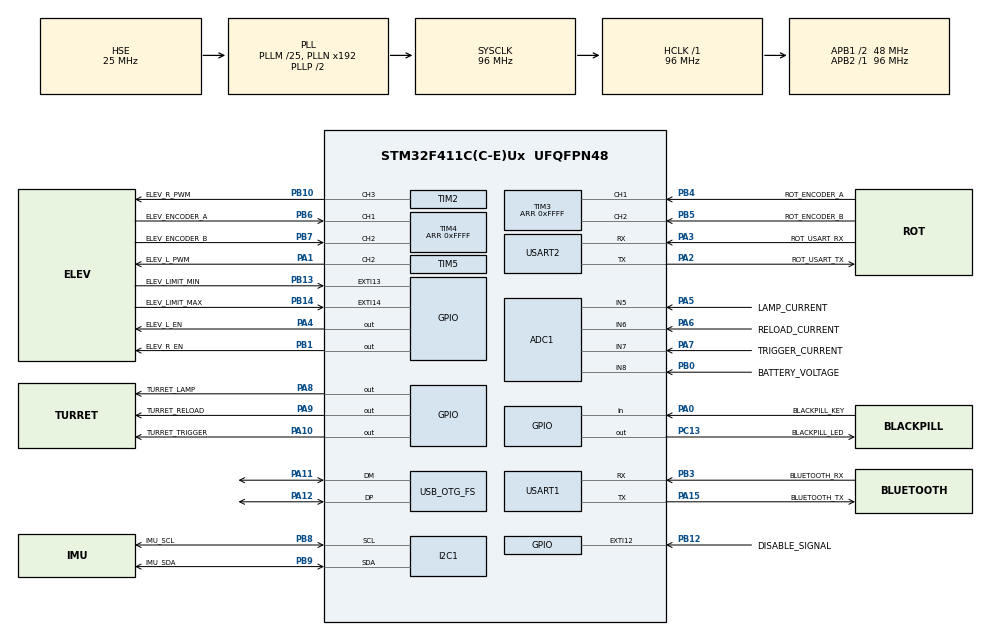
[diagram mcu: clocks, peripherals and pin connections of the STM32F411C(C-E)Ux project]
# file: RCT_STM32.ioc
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ADC1.Channel-0\#ChannelRegularConversion=ADC_CHANNEL_5
ADC1.Channel-1\#ChannelRegularConversion=ADC_CHANNEL_6
ADC1.Channel-2\#ChannelRegularConversion=ADC_CHANNEL_7
ADC1.Channel-3\#ChannelRegularConversion=ADC_CHANNEL_8
ADC1.ContinuousConvMode=DISABLE
ADC1.DMAContinuousRequests=DISABLE
ADC1.NbrOfConversion=4
ADC1.NbrOfConversionFlag=1
ADC1.Rank-0\#ChannelRegularConversion=1
ADC1.Rank-1\#ChannelRegularConversion=2
ADC1.Rank-2\#ChannelRegularConversion=3
ADC1.Rank-3\#ChannelRegularConversion=4
ADC1.SamplingTime-0\#ChannelRegularConversion=ADC_SAMPLETIME_112CYCLES
ADC1.SamplingTime-1\#ChannelRegularConversion=ADC_SAMPLETIME_112CYCLES
ADC1.SamplingTime-2\#ChannelRegularConversion=ADC_SAMPLETIME_112CYCLES
ADC1.SamplingTime-3\#ChannelRegularConversion=ADC_SAMPLETIME_112CYCLES
ADC1.ScanConvMode=ENABLE
ADC1.master=1
Dma.ADC1.0.Direction=DMA_PERIPH_TO_MEMORY
Dma.ADC1.0.FIFOMode=DMA_FIFOMODE_DISABLE
Dma.ADC1.0.Instance=DMA2_Stream0
Dma.ADC1.0.MemDataAlignment=DMA_MDATAALIGN_HALFWORD
Dma.ADC1.0.MemInc=DMA_MINC_ENABLE
Dma.ADC1.0.Mode=DMA_CIRCULAR
Dma.ADC1.0.PeriphDataAlignment=DMA_PDATAALIGN_HALFWORD
Dma.ADC1.0.PeriphInc=DMA_PINC_DISABLE
Dma.ADC1.0.Priority=DMA_PRIORITY_MEDIUM
Dma.Request0=ADC1
FREERTOS.INCLUDE_eTaskGetState=1
FREERTOS.INCLUDE_uxTaskGetStackHighWaterMark=1
FREERTOS.INCLUDE_uxTaskPriorityGet=1
FREERTOS.INCLUDE_vTaskDelayUntil=1
FREERTOS.INCLUDE_vTaskDelete=1
FREERTOS.INCLUDE_vTaskPrioritySet=1
FREERTOS.INCLUDE_xQueueGetMutexHolder=0
FREERTOS.INCLUDE_xSemaphoreGetMutexHolder=1
FREERTOS.INCLUDE_xTaskGetSchedulerState=1
FREERTOS.INCLUDE_xTaskResumeFromISR=0
FREERTOS.INCLUDE_xTimerPendFunctionCall=1
FREERTOS.Tasks01=task_encodersUpdate,43,128,taskInit_encodersUpdate,Default,NULL,Dynamic,NULL,NULL;task_stateLEDUpdate,15,128,taskInit_stateLEDUpdate,Default,NULL,Dynamic,NULL,NULL;task_pollModbus,38,128,taskInit_pollModbus,Default,NULL,Dynamic,NULL,NULL;task_checkIfTimeout,15,128,taskInit_checkIfTimeout,Default,NULL,Dynamic,NULL,NULL;task_PID_Rot_Position,46,128,taskInit_PID_Rot_Position,Default,NULL,Dynamic,NULL,NULL;task_PID_Elev_Position,46,128,taskInit_PID_Elev_Position,Default,NULL,Dynamic,NULL,NULL;task_debugUSBPrint,23,128,taskInit_debugUSBPrint,Default,NULL,Dynamic,NULL,NULL;task_checkAccelValues,31,128,taskInit_checkAccelValues,Default,NULL,Dynamic,NULL,NULL;task_checkAnalogSensorsData,39,128,taskInit_checkAnalogSensorsData,Default,NULL,Dynamic,NULL,NULL;task_shootingTimeLimit,47,128,taskInit_shootingTimeLimit,Default,NULL,Dynamic,NULL,NULL;task_PID_Rot_Speed,45,128,taskInit_PID_Rot_Speed,Default,NULL,Dynamic,NULL,NULL;task_PID_Elev_Speed,45,128,taskInit_PID_Elev_Speed,Default,NULL,Dynamic,NULL,NULL;task_send_Rot_Speed,44,128,taskInit_send_Rot_Speed,Default,NULL,Dynamic,NULL,NULL;task_send_Elev_Speed,44,128,taskInit_send_Elev_Speed,Default,NULL,Dynamic,NULL,NULL;task_VESC_RX_Timeout,15,128,taskInit_VESC_RX_Timeout,Default,NULL,Dynamic,NULL,NULL
FREERTOS.configLIBRARY_MAX_SYSCALL_INTERRUPT_PRIORITY=10
FREERTOS.configMAX_TASK_NAME_LEN=32
FREERTOS.configUSE_PREEMPTION=0
FREERTOS.configUSE_TASK_NOTIFICATIONS=1
FREERTOS.configUSE_TRACE_FACILITY=1
Mcu.Family=STM32F4
Mcu.Name=STM32F411C(C-E)Ux
Mcu.Package=UFQFPN48
Mcu.UserConstants=MODBUS_TIM_PRESCALER,95;BLUETOOTH_USART_BPS,9600;ELEV_R_PWM_PRESCALER,7;ELEV_USART_BPS,9600;ELEV_L_PWM_PERIOD,999;ELEV_R_PWM_PERIOD,999;COMMS_BUFFER_SIZE,128;IWDG_RELOAD,999;ROT_USART_BPS,115200;MODBUS_TIM_PERIOD,49;ELEV_L_PWM_PRESCALER,7
NVIC.DMA2_Stream0_IRQn=true\:10\:0\:false\:false\:true\:true\:false\:true\:true
NVIC.EXTI15_10_IRQn=true\:9\:0\:true\:false\:true\:false\:true\:true\:true
NVIC.I2C1_ER_IRQn=true\:9\:0\:true\:false\:true\:false\:true\:true\:true
NVIC.I2C1_EV_IRQn=true\:9\:0\:true\:false\:true\:false\:true\:true\:true
NVIC.OTG_FS_IRQn=true\:10\:0\:true\:false\:true\:false\:false\:true\:true
NVIC.PriorityGroup=NVIC_PRIORITYGROUP_4
NVIC.TIM1_TRG_COM_TIM11_IRQn=true\:11\:0\:true\:false\:true\:false\:true\:true\:true
NVIC.TIM1_UP_TIM10_IRQn=true\:11\:0\:true\:false\:true\:false\:true\:true\:true
NVIC.TIM3_IRQn=true\:9\:0\:true\:false\:true\:false\:true\:true\:true
NVIC.TIM4_IRQn=true\:9\:0\:true\:false\:true\:false\:true\:true\:true
NVIC.TimeBase=TIM1_UP_TIM10_IRQn
NVIC.TimeBaseIP=TIM10
NVIC.USART1_IRQn=true\:10\:0\:true\:false\:true\:false\:true\:true\:true
NVIC.USART2_IRQn=true\:10\:0\:true\:false\:true\:false\:true\:true\:true
PA0-WKUP.GPIO_Label=BLACKPILL_KEY
PA0-WKUP.GPIO_PuPd=GPIO_PULLUP
PA0-WKUP.Signal=GPIO_Input
PA1.GPIO_Label=ELEV_L_PWM
PA1.Signal=S_TIM5_CH2
PA10.GPIO_Label=TURRET_TRIGGER
PA10.Signal=GPIO_Output
PA11.Mode=Device_Only
PA11.Signal=USB_OTG_FS_DM
PA12.Mode=Device_Only
PA12.Signal=USB_OTG_FS_DP
PA13.Mode=Serial_Wire
PA13.Signal=SYS_JTMS-SWDIO
PA14.Mode=Serial_Wire
PA14.Signal=SYS_JTCK-SWCLK
PA15.GPIO_Label=BLUETOOTH_TX
PA15.GPIO_PuPd=GPIO_PULLUP
PA15.Mode=Asynchronous
PA15.Signal=USART1_TX
PA2.GPIO_Label=ROT_USART_TX
PA2.Mode=Asynchronous
PA2.Signal=USART2_TX
PA3.GPIO_Label=ROT_USART_RX
PA3.Mode=Asynchronous
PA3.Signal=USART2_RX
PA4.GPIO_Label=ELEV_L_EN
PA4.Signal=GPIO_Output
PA5.GPIO_Label=LAMP_CURRENT
PA5.Signal=ADCx_IN5
PA6.GPIO_Label=RELOAD_CURRENT
PA6.Signal=ADCx_IN6
PA7.GPIO_Label=TRIGGER_CURRENT
PA7.Signal=ADCx_IN7
PA8.GPIO_Label=TURRET_LAMP
PA8.Signal=GPIO_Output
PA9.GPIO_Label=TURRET_RELOAD
PA9.Signal=GPIO_Output
PB0.GPIO_Label=BATTERY_VOLTAGE
PB0.Signal=ADCx_IN8
PB1.GPIO_Label=ELEV_R_EN
PB1.Signal=GPIO_Output
PB10.GPIO_Label=ELEV_R_PWM
PB10.Signal=S_TIM2_CH3
PB12.GPIO_Label=DISABLE_SIGNAL
PB12.Signal=GPXTI12
PB13.GPIO_Label=ELEV_LIMIT_MIN
PB13.GPIO_ModeDefaultEXTI=GPIO_MODE_IT_RISING_FALLING
PB13.GPIO_PuPd=GPIO_PULLUP
PB13.Signal=GPXTI13
PB14.GPIO_Label=ELEV_LIMIT_MAX
PB14.GPIO_ModeDefaultEXTI=GPIO_MODE_IT_RISING_FALLING
PB14.GPIO_PuPd=GPIO_PULLUP
PB14.Signal=GPXTI14
PB3.GPIO_Label=BLUETOOTH_RX
PB3.Mode=Asynchronous
PB3.Signal=USART1_RX
PB4.GPIO_Label=ROT_ENCODER_A
PB4.Signal=S_TIM3_CH1
PB5.GPIO_Label=ROT_ENCODER_B
PB5.Signal=S_TIM3_CH2
PB6.GPIO_Label=ELEV_ENCODER_A
PB6.Signal=S_TIM4_CH1
PB7.GPIO_Label=ELEV_ENCODER_B
PB7.Signal=S_TIM4_CH2
PB8.GPIO_Label=IMU_SCL
PB8.Mode=I2C
PB8.Signal=I2C1_SCL
PB9.GPIO_Label=IMU_SDA
PB9.Mode=I2C
PB9.Signal=I2C1_SDA
PC13-ANTI_TAMP.GPIO_Label=BLACKPILL_LED
PC13-ANTI_TAMP.PinState=GPIO_PIN_SET
PC13-ANTI_TAMP.Signal=GPIO_Output
PC14-OSC32_IN.Mode=LSE-External-Oscillator
PC14-OSC32_IN.Signal=RCC_OSC32_IN
PC15-OSC32_OUT.Mode=LSE-External-Oscillator
PC15-OSC32_OUT.Signal=RCC_OSC32_OUT
PH0\ -\ OSC_IN.Mode=HSE-External-Oscillator
PH0\ -\ OSC_IN.Signal=RCC_OSC_IN
PH1\ -\ OSC_OUT.Mode=HSE-External-Oscillator
PH1\ -\ OSC_OUT.Signal=RCC_OSC_OUT
ProjectManager.HeapSize=0x800
ProjectManager.StackSize=0x400
ProjectManager.TargetToolchain=CMake
RCC.48MHZClocksFreq_Value=48000000
RCC.AHBFreq_Value=96000000
RCC.APB1CLKDivider=RCC_HCLK_DIV2
RCC.APB1Freq_Value=48000000
RCC.APB1TimFreq_Value=96000000
RCC.APB2Freq_Value=96000000
RCC.APB2TimFreq_Value=96000000
RCC.CortexFreq_Value=96000000
RCC.EnbaleCSS=true
RCC.HCLKFreq_Value=96000000
RCC.HSE_VALUE=25000000
RCC.HSI_VALUE=16000000
RCC.PLLM=25
RCC.RCC_RTC_Clock_Source=RCC_RTCCLKSOURCE_LSE
RCC.RCC_RTC_Clock_SourceVirtual=RCC_RTCCLKSOURCE_LSE
RCC.SYSCLKFreq_VALUE=96000000
RCC.SYSCLKSource=RCC_SYSCLKSOURCE_PLLCLK
RCC.VCOOutputFreq_Value=192000000
SH.ADCx_IN5.0=ADC1_IN5,IN5
SH.ADCx_IN6.0=ADC1_IN6,IN6
SH.ADCx_IN7.0=ADC1_IN7,IN7
SH.ADCx_IN8.0=ADC1_IN8,IN8
SH.S_TIM2_CH3.0=TIM2_CH3,PWM Generation3 CH3
SH.S_TIM3_CH1.0=TIM3_CH1,Encoder_Interface
SH.S_TIM3_CH2.0=TIM3_CH2,Encoder_Interface
SH.S_TIM4_CH1.0=TIM4_CH1,Encoder_Interface
SH.S_TIM4_CH2.0=TIM4_CH2,Encoder_Interface
SH.S_TIM5_CH2.0=TIM5_CH2,PWM Generation2 CH2
TIM11.Period=MODBUS_TIM_PERIOD
TIM11.Prescaler=MODBUS_TIM_PRESCALER
TIM2.Channel-PWM\ Generation3\ CH3=TIM_CHANNEL_3
TIM2.Period=ELEV_R_PWM_PERIOD
TIM2.Prescaler=ELEV_R_PWM_PRESCALER
TIM3.Channel-Output\ Compare3\ No\ Output=TIM_CHANNEL_3
TIM3.Channel-Output\ Compare4\ No\ Output=TIM_CHANNEL_4
TIM3.OCMode_3=TIM_OCMODE_ACTIVE
TIM3.OCMode_4=TIM_OCMODE_ACTIVE
TIM3.Period=0xFFFF
TIM3.Pulse-Output\ Compare3\ No\ Output=0x7FFF
TIM3.Pulse-Output\ Compare4\ No\ Output=0xFFFF-0x7FFF+1
TIM4.Channel-Output\ Compare3\ No\ Output=TIM_CHANNEL_3
TIM4.Channel-Output\ Compare4\ No\ Output=TIM_CHANNEL_4
TIM4.EncoderMode=TIM_ENCODERMODE_TI12
TIM4.IC1Filter=0
TIM4.IC2Filter=0
TIM4.OCMode_3=TIM_OCMODE_ACTIVE
TIM4.OCMode_4=TIM_OCMODE_ACTIVE
TIM4.Period=0xFFFF
TIM4.Pulse-Output\ Compare3\ No\ Output=0x7FFF
TIM4.Pulse-Output\ Compare4\ No\ Output=0xFFFF-0x7FFF+1
TIM5.Channel-PWM\ Generation2\ CH2=TIM_CHANNEL_2
TIM5.Period=ELEV_L_PWM_PERIOD
TIM5.Prescaler=ELEV_L_PWM_PRESCALER
USART1.BaudRate=BLUETOOTH_USART_BPS
USART1.VirtualMode=VM_ASYNC
USART2.BaudRate=ROT_USART_BPS
USART2.VirtualMode=VM_ASYNC
USB_DEVICE.APP_RX_DATA_SIZE=COMMS_BUFFER_SIZE
USB_DEVICE.APP_TX_DATA_SIZE=COMMS_BUFFER_SIZE
USB_DEVICE.CLASS_NAME_FS=CDC
USB_DEVICE.USBD_MAX_STR_DESC_SIZ=0xFF
USB_DEVICE.VirtualMode=Cdc
USB_DEVICE.VirtualModeFS=Cdc_FS
USB_OTG_FS.VirtualMode=Device_Only
VP_FREERTOS_VS_CMSIS_V2.Mode=CMSIS_V2
VP_RTC_VS_RTC_Activate.Mode=RTC_Enabled
VP_SYS_VS_tim10.Mode=TIM10
VP_TIM11_VS_ClockSourceINT.Mode=Enable_Timer
VP_TIM3_VS_no_output3.Mode=Output Compare3 No Output
VP_TIM3_VS_no_output4.Mode=Output Compare4 No Output
VP_TIM4_VS_no_output3.Mode=Output Compare3 No Output
VP_TIM4_VS_no_output4.Mode=Output Compare4 No Output
VP_USB_DEVICE_VS_USB_DEVICE_CDC_FS.Mode=CDC_FS
board=custom

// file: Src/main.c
/* USER CODE BEGIN Header */
/**
 ******************************************************************************
 * @file           : main.c
 * @brief          : Main program body
 ******************************************************************************
 * @attention
 *
 * Copyright (c) 2025 STMicroelectronics.
 * All rights reserved.
 *
 * This software is licensed under terms that can be found in the LICENSE file
 * in the root directory of this software component.
 * If no LICENSE file comes with this software, it is provided AS-IS.
 *
 ******************************************************************************
 */
/* USER CODE END Header */
#include "main.h"
#include "cmsis_os.h"
#include "adc.h"
#include "dma.h"
#include "i2c.h"
#include "rtc.h"
#include "tim.h"
#include "usart.h"
#include "usb_device.h"
#include "gpio.h"

/* USER CODE BEGIN Includes */

#include "usbd_cdc_if.h"
#include "mb.h"
#include "mbport.h"

#include "ModbusRegisters/reg_input.h"

/* USER CODE END Includes */

void SystemClock_Config(void);
void MX_FREERTOS_Init(void);

int main(void)
{

  /* MCU Configuration--------------------------------------------------------*/

  /* Reset of all peripherals, Initializes the Flash interface and the Systick. */
  HAL_Init();

  /* Configure the system clock */
  SystemClock_Config();

  /* Initialize all configured peripherals */
  MX_GPIO_Init();
  MX_DMA_Init();
  MX_RTC_Init();
  MX_TIM11_Init();
  MX_USART1_UART_Init();
  MX_ADC1_Init();
  MX_I2C1_Init();
  MX_TIM4_Init();
  MX_TIM2_Init();
  MX_TIM3_Init();
  MX_TIM5_Init();
  MX_USART2_UART_Init();
  /* USER CODE BEGIN 2 */

  initRegInput();
  initRegHolding();
  initRegFlash();

  eMBErrorCode eStatus;
  eStatus = eMBInit(MB_RTU, MODBUS_SLAVE_ID, &huart1, BLUETOOTH_USART_BPS, &htim11);
  eStatus = eMBSetSlaveID(MODBUS_SLAVE_ID, TRUE, NULL, 0);
  eStatus = eMBEnable();

  initRotSpeedControl();
  initElevSpeedControl();

  /* USER CODE END 2 */

  /* Init scheduler */
  osKernelInitialize();

  /* Call init function for freertos objects (in cmsis_os2.c) */
  MX_FREERTOS_Init();

  /* Start scheduler */
  osKernelStart();

  /* We should never get here as control is now taken by the scheduler */

  /* Infinite loop */
  /* USER CODE BEGIN WHILE */
  while (1)
  { // Delay for 1 second
    /* USER CODE END WHILE */

    /* USER CODE BEGIN 3 */

    // Code responsible for refreshing the watchdog timer, without it the system will reset
    // HAL_IWDG_Refresh(&hiwdg);
  }
  /* USER CODE END 3 */
}

void SystemClock_Config(void)
{
  RCC_OscInitTypeDef RCC_OscInitStruct = {0};
  RCC_ClkInitTypeDef RCC_ClkInitStruct = {0};

  /** Configure the main internal regulator output voltage
  */
  __HAL_RCC_PWR_CLK_ENABLE();
  __HAL_PWR_VOLTAGESCALING_CONFIG(PWR_REGULATOR_VOLTAGE_SCALE1);

  /** Initializes the RCC Oscillators according to the specified parameters
  * in the RCC_OscInitTypeDef structure.
  */
  RCC_OscInitStruct.OscillatorType = RCC_OSCILLATORTYPE_HSE|RCC_OSCILLATORTYPE_LSE;
  RCC_OscInitStruct.HSEState = RCC_HSE_ON;
  RCC_OscInitStruct.LSEState = RCC_LSE_ON;
  RCC_OscInitStruct.PLL.PLLState = RCC_PLL_ON;
  RCC_OscInitStruct.PLL.PLLSource = RCC_PLLSOURCE_HSE;
  RCC_OscInitStruct.PLL.PLLM = 25;
  RCC_OscInitStruct.PLL.PLLN = 192;
  RCC_OscInitStruct.PLL.PLLP = RCC_PLLP_DIV2;
  RCC_OscInitStruct.PLL.PLLQ = 4;
  if (HAL_RCC_OscConfig(&RCC_OscInitStruct) != HAL_OK)
  {
    Error_Handler();
  }

  /** Initializes the CPU, AHB and APB buses clocks
  */
  RCC_ClkInitStruct.ClockType = RCC_CLOCKTYPE_HCLK|RCC_CLOCKTYPE_SYSCLK
                              |RCC_CLOCKTYPE_PCLK1|RCC_CLOCKTYPE_PCLK2;
  RCC_ClkInitStruct.SYSCLKSource = RCC_SYSCLKSOURCE_PLLCLK;
  RCC_ClkInitStruct.AHBCLKDivider = RCC_SYSCLK_DIV1;
  RCC_ClkInitStruct.APB1CLKDivider = RCC_HCLK_DIV2;
  RCC_ClkInitStruct.APB2CLKDivider = RCC_HCLK_DIV1;

  if (HAL_RCC_ClockConfig(&RCC_ClkInitStruct, FLASH_LATENCY_3) != HAL_OK)
  {
    Error_Handler();
  }

  /** Enables the Clock Security System
  */
  HAL_RCC_EnableCSS();
}

void HAL_TIM_PeriodElapsedCallback(TIM_HandleTypeDef *htim)
{
  if (htim->Instance == TIM10)
  {
    HAL_IncTick();
  }
}

void Error_Handler(void)
{
  __disable_irq();
  while (1)
  {
  }
}

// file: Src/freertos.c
/* USER CODE BEGIN Header */
/**
 ******************************************************************************
 * File Name          : freertos.c
 * Description        : Code for freertos applications
 ******************************************************************************
 * @attention
 *
 * Copyright (c) 2025 STMicroelectronics.
 * All rights reserved.
 *
 * This software is licensed under terms that can be found in the LICENSE file
 * in the root directory of this software component.
 * If no LICENSE file comes with this software, it is provided AS-IS.
 *
 ******************************************************************************
 */
/* USER CODE END Header */

#include "FreeRTOS.h"
#include "task.h"
#include "main.h"
#include "cmsis_os.h"

/* USER CODE BEGIN Includes */

#include "usbd_cdc_if.h"
#include "freertos_tasks.h"

#include "bldc_interface_uart.h"

#include "App/turretStates.h"
#include "ModbusRegisters/reg_input.h"
#include "ModbusRegisters/reg_holding.h"
#include "Sensors/encoders.h"
#include "Sensors/analog_sensors.h"
#include "Sensors/accelerometer.h"
#include "App/pid.h"
#include "App/speedControl.h"

/* USER CODE END Includes */

/* Definitions for task_encodersUpdate */
osThreadId_t task_encodersUpdateHandle;
const osThreadAttr_t task_encodersUpdate_attributes = {
    .name = "task_encodersUpdate",
    .stack_size = 128 * 4,
    .priority = (osPriority_t)osPriorityHigh3,
};
/* Definitions for task_stateLEDUpdate */
osThreadId_t task_stateLEDUpdateHandle;
const osThreadAttr_t task_stateLEDUpdate_attributes = {
    .name = "task_stateLEDUpdate",
    .stack_size = 128 * 4,
    .priority = (osPriority_t)osPriorityLow7,
};
/* Definitions for task_pollModbus */
osThreadId_t task_pollModbusHandle;
const osThreadAttr_t task_pollModbus_attributes = {
    .name = "task_pollModbus",
    .stack_size = 128 * 4,
    .priority = (osPriority_t)osPriorityAboveNormal6,
};
/* Definitions for task_checkIfTimeout */
osThreadId_t task_checkIfTimeoutHandle;
const osThreadAttr_t task_checkIfTimeout_attributes = {
    .name = "task_checkIfTimeout",
    .stack_size = 128 * 4,
    .priority = (osPriority_t)osPriorityLow7,
};
/* Definitions for task_PID_Rot_Position */
osThreadId_t task_PID_Rot_PositionHandle;
const osThreadAttr_t task_PID_Rot_Position_attributes = {
    .name = "task_PID_Rot_Position",
    .stack_size = 128 * 4,
    .priority = (osPriority_t)osPriorityHigh6,
};
/* Definitions for task_PID_Elev_Position */
osThreadId_t task_PID_Elev_PositionHandle;
const osThreadAttr_t task_PID_Elev_Position_attributes = {
    .name = "task_PID_Elev_Position",
    .stack_size = 128 * 4,
    .priority = (osPriority_t)osPriorityHigh6,
};
/* Definitions for task_debugUSBPrint */
osThreadId_t task_debugUSBPrintHandle;
const osThreadAttr_t task_debugUSBPrint_attributes = {
    .name = "task_debugUSBPrint",
    .stack_size = 128 * 4,
    .priority = (osPriority_t)osPriorityBelowNormal7,
};
/* Definitions for task_checkAccelValues */
osThreadId_t task_checkAccelValuesHandle;
const osThreadAttr_t task_checkAccelValues_attributes = {
    .name = "task_checkAccelValues",
    .stack_size = 128 * 4,
    .priority = (osPriority_t)osPriorityNormal7,
};
/* Definitions for task_checkAnalogSensorsData */
osThreadId_t task_checkAnalogSensorsDataHandle;
const osThreadAttr_t task_checkAnalogSensorsData_attributes = {
    .name = "task_checkAnalogSensorsData",
    .stack_size = 128 * 4,
    .priority = (osPriority_t)osPriorityAboveNormal7,
};
/* Definitions for task_shootingTimeLimit */
osThreadId_t task_shootingTimeLimitHandle;
const osThreadAttr_t task_shootingTimeLimit_attributes = {
    .name = "task_shootingTimeLimit",
    .stack_size = 128 * 4,
    .priority = (osPriority_t)osPriorityHigh7,
};
/* Definitions for task_PID_Rot_Speed */
osThreadId_t task_PID_Rot_SpeedHandle;
const osThreadAttr_t task_PID_Rot_Speed_attributes = {
    .name = "task_PID_Rot_Speed",
    .stack_size = 128 * 4,
    .priority = (osPriority_t)osPriorityHigh5,
};
/* Definitions for task_PID_Elev_Speed */
osThreadId_t task_PID_Elev_SpeedHandle;
const osThreadAttr_t task_PID_Elev_Speed_attributes = {
    .name = "task_PID_Elev_Speed",
    .stack_size = 128 * 4,
    .priority = (osPriority_t)osPriorityHigh5,
};
/* Definitions for task_send_Rot_Speed */
osThreadId_t task_send_Rot_SpeedHandle;
const osThreadAttr_t task_send_Rot_Speed_attributes = {
    .name = "task_send_Rot_Speed",
    .stack_size = 128 * 4,
    .priority = (osPriority_t)osPriorityHigh4,
};
/* Definitions for task_send_Elev_Speed */
osThreadId_t task_send_Elev_SpeedHandle;
const osThreadAttr_t task_send_Elev_Speed_attributes = {
    .name = "task_send_Elev_Speed",
    .stack_size = 128 * 4,
    .priority = (osPriority_t)osPriorityHigh4,
};
/* Definitions for task_VESC_RX_Timeout */
osThreadId_t task_VESC_RX_TimeoutHandle;
const osThreadAttr_t task_VESC_RX_Timeout_attributes = {
    .name = "task_VESC_RX_Timeout",
    .stack_size = 128 * 4,
    .priority = (osPriority_t)osPriorityLow7,
};

void taskInit_encodersUpdate(void *argument);
void taskInit_stateLEDUpdate(void *argument);
void taskInit_pollModbus(void *argument);
void taskInit_checkIfTimeout(void *argument);
void taskInit_PID_Rot_Position(void *argument);
void taskInit_PID_Elev_Position(void *argument);
void taskInit_debugUSBPrint(void *argument);
void taskInit_checkAccelValues(void *argument);
void taskInit_checkAnalogSensorsData(void *argument);
void taskInit_shootingTimeLimit(void *argument);
void taskInit_PID_Rot_Speed(void *argument);
void taskInit_PID_Elev_Speed(void *argument);
void taskInit_send_Rot_Speed(void *argument);
void taskInit_send_Elev_Speed(void *argument);
void taskInit_VESC_RX_Timeout(void *argument);

extern void MX_USB_DEVICE_Init(void);
void MX_FREERTOS_Init(void); /* (MISRA C 2004 rule 8.1) */

void MX_FREERTOS_Init(void)
{

  /* Create the thread(s) */
  /* creation of task_encodersUpdate */
  task_encodersUpdateHandle = osThreadNew(taskInit_encodersUpdate, NULL, &task_encodersUpdate_attributes);

  /* creation of task_stateLEDUpdate */
  task_stateLEDUpdateHandle = osThreadNew(taskInit_stateLEDUpdate, NULL, &task_stateLEDUpdate_attributes);

  /* creation of task_pollModbus */
  task_pollModbusHandle = osThreadNew(taskInit_pollModbus, NULL, &task_pollModbus_attributes);

  /* creation of task_checkIfTimeout */
  task_checkIfTimeoutHandle = osThreadNew(taskInit_checkIfTimeout, NULL, &task_checkIfTimeout_attributes);

  /* creation of task_PID_Rot_Position */
  task_PID_Rot_PositionHandle = osThreadNew(taskInit_PID_Rot_Position, NULL, &task_PID_Rot_Position_attributes);

  /* creation of task_PID_Elev_Position */
  task_PID_Elev_PositionHandle = osThreadNew(taskInit_PID_Elev_Position, NULL, &task_PID_Elev_Position_attributes);

  /* creation of task_debugUSBPrint */
  task_debugUSBPrintHandle = osThreadNew(taskInit_debugUSBPrint, NULL, &task_debugUSBPrint_attributes);

  /* creation of task_checkAccelValues */
  task_checkAccelValuesHandle = osThreadNew(taskInit_checkAccelValues, NULL, &task_checkAccelValues_attributes);

  /* creation of task_checkAnalogSensorsData */
  task_checkAnalogSensorsDataHandle = osThreadNew(taskInit_checkAnalogSensorsData, NULL, &task_checkAnalogSensorsData_attributes);

  /* creation of task_shootingTimeLimit */
  task_shootingTimeLimitHandle = osThreadNew(taskInit_shootingTimeLimit, NULL, &task_shootingTimeLimit_attributes);

  /* creation of task_PID_Rot_Speed */
  task_PID_Rot_SpeedHandle = osThreadNew(taskInit_PID_Rot_Speed, NULL, &task_PID_Rot_Speed_attributes);

  /* creation of task_PID_Elev_Speed */
  task_PID_Elev_SpeedHandle = osThreadNew(taskInit_PID_Elev_Speed, NULL, &task_PID_Elev_Speed_attributes);

  /* creation of task_send_Rot_Speed */
  task_send_Rot_SpeedHandle = osThreadNew(taskInit_send_Rot_Speed, NULL, &task_send_Rot_Speed_attributes);

  /* creation of task_send_Elev_Speed */
  task_send_Elev_SpeedHandle = osThreadNew(taskInit_send_Elev_Speed, NULL, &task_send_Elev_Speed_attributes);

  /* creation of task_VESC_RX_Timeout */
  task_VESC_RX_TimeoutHandle = osThreadNew(taskInit_VESC_RX_Timeout, NULL, &task_VESC_RX_Timeout_attributes);

}

void taskInit_encodersUpdate(void *argument)
{
  /* init code for USB_DEVICE */
  MX_USB_DEVICE_Init();
  /* USER CODE BEGIN taskInit_encodersUpdate */

  encodersInit();

  /* Infinite loop */
  for (;;)
  {
    encoderUpdate((Encoder *)&rot_motor_encoder);
    encoderUpdate((Encoder *)&elev_motor_encoder);
    osDelay(ENCODER_SAMPLING_TIME_MS / portTICK_RATE_MS);
  }
  /* USER CODE END taskInit_encodersUpdate */
}

void taskInit_stateLEDUpdate(void *argument)
{
  /* USER CODE BEGIN taskInit_stateLEDUpdate */
  /* Infinite loop */
  for (;;)
  {
    stateLEDUpdate();
    osDelay(STATE_LED_SWITCHING_PERIOD_MS / portTICK_RATE_MS);
  }
  /* USER CODE END taskInit_stateLEDUpdate */
}

void taskInit_pollModbus(void *argument)
{
  /* USER CODE BEGIN taskInit_pollModbus */
  /* Infinite loop */
  for (;;)
  {
    eMBPoll();
    osDelay(1);
  }
  /* USER CODE END taskInit_pollModbus */
}

void taskInit_checkIfTimeout(void *argument)
{
  /* USER CODE BEGIN taskInit_checkIfTimeout */
  /* Infinite loop */
  for (;;)
  {
    checkIfCommTimeout();
    osDelay(500 / portTICK_RATE_MS);
  }
  /* USER CODE END taskInit_checkIfTimeout */
}

void taskInit_PID_Rot_Position(void *argument)
{
  /* USER CODE BEGIN taskInit_PID_Rot_Position */
  static bool initialized = false;
  if (!initialized)
  {
    PID_Init(&PID_position_rot,
             0.1f,   // Kp
             0.001f, // Ki
             0.1f,   // Kd
             PID_POSITION_SAMPLING_TIME_MS);
    USR_Printf_USBD_CDC("PID INITIALIZED IN TASK\r\n");
    initialized = true;
  }

  regHolding[regHoldIx(REG_HOLDING_ROT_TARGET_POSITION)] = 0;
  PID_SetLimits(&PID_position_rot, -10000, 10000);
  // PID_SetSpeedLimits(&PID_position_rot, 1000, 1000);
  PID_position_rot.speed_limits_enabled = false;
  PID_Reset(&PID_position_rot);
  /* Infinite loop */
  for (;;)
  {
    bool positionPIDEnabled = regFlash[regFlashIx(REG_FLASH_ROT_CONFIG)] & REG_FLASH_ROT_CONFIG_BIT_PID_EN;
    positionPIDEnabled &= regFlash[regFlashIx(REG_FLASH_ROT_CONFIG)] & REG_FLASH_ROT_CONFIG_BIT_PID_TYPE;
    if (!positionPIDEnabled)
      vTaskSuspend(NULL);
    else
    {
      osDelay(PID_POSITION_SAMPLING_TIME_MS / portTICK_RATE_MS);
      PID_position_rot.values.current_val = (int16_t)regInput[regInpIx(REG_INPUT_ROT_POSITION)];
      PID_position_rot.values.setpoint = (int16_t)regHolding[regHoldIx(REG_HOLDING_ROT_TARGET_POSITION)];
      PID_Update(&PID_position_rot);
      PID_speed_rot.values.setpoint = PID_position_rot.values.control_val;
    }
  }
  /* USER CODE END taskInit_PID_Rot_Position */
}

void taskInit_PID_Elev_Position(void *argument)
{
  /* USER CODE BEGIN taskInit_PID_Elev_Position */
  /* Infinite loop */
  for (;;)
  {
    bool positionPIDEnabled = regFlash[regFlashIx(REG_FLASH_ELEV_CONFIG)] & REG_FLASH_ELEV_CONFIG_BIT_PID_EN;
    positionPIDEnabled &= regFlash[regFlashIx(REG_FLASH_ELEV_CONFIG)] & REG_FLASH_ELEV_CONFIG_BIT_PID_TYPE;
    if (!positionPIDEnabled)
      vTaskSuspend(NULL);
    else
    {
      osDelay(PID_POSITION_SAMPLING_TIME_MS / portTICK_RATE_MS);
      PID_position_elev.values.current_val = (int16_t)regInput[regInpIx(REG_INPUT_ELEV_POSITION)];
      PID_position_elev.values.setpoint = (int16_t)regHolding[regHoldIx(REG_HOLDING_ELEV_TARGET_POSITION)];
      PID_Update(&PID_position_elev);
      PID_speed_elev.values.setpoint = PID_position_elev.values.control_val;
    }
  }
  /* USER CODE END taskInit_PID_Elev_Position */
}

void taskInit_debugUSBPrint(void *argument)
{
  /* USER CODE BEGIN taskInit_debugUSBPrint */
  /* Infinite loop */
  for (;;)
  {
    //!< @note Purpose of this task is to print debug information to USB CDC
    USR_Printf_USBD_CDC("\tRot:%d,Elev:%d/r/n", (int16_t)regHolding[regHoldIx(REG_HOLDING_ROT_TARGET_POSITION)],
                        (int16_t)regHolding[regHoldIx(REG_HOLDING_ELEV_TARGET_POSITION)]);
    osDelay(90 / portTICK_RATE_MS);
  }
  /* USER CODE END taskInit_debugUSBPrint */
}

void taskInit_checkAccelValues(void *argument)
{
  /* USER CODE BEGIN taskInit_checkAccelValues */
  MPU6050_Init();
  /* Infinite loop */
  for (;;)
  {
    osDelay(ACCELEROMETER_SAMPLING_TIME_MS / portTICK_RATE_MS);
    accelerometerUpdate();
  }
  /* USER CODE END taskInit_checkAccelValues */
}

void taskInit_checkAnalogSensorsData(void *argument)
{
  /* USER CODE BEGIN taskInit_checkAnalogSensorsData */
  /* Infinite loop */
  for (;;)
  {
    osDelay(ANALOG_SAMPLING_TIME_MS / portTICK_RATE_MS);
    analogSensorsUpdate();
  }
  /* USER CODE END taskInit_checkAnalogSensorsData */
}

void taskInit_shootingTimeLimit(void *argument)
{
  /* USER CODE BEGIN taskInit_shootingTimeLimit */
  /* Infinite loop */
  for (;;)
  {
    vTaskSuspend(NULL);
    osDelay(regFlash[regFlashIx(REG_FLASH_SHOOTING_TIME_LIMIT)] / portTICK_RATE_MS);
    if (regInput[regInpIx(REG_INPUT_STATUS_WORD)] & REG_INPUT_STATUS_WORD_BIT_SHOOTING)
      shootTurretToggle();
  }
  /* USER CODE END taskInit_shootingTimeLimit */
}

void taskInit_PID_Rot_Speed(void *argument)
{
  /* USER CODE BEGIN taskInit_PID_Rot_Speed */

  /* Infinite loop */
  for (;;)
  {
    {
      bool speedPIDEnabled = regFlash[regFlashIx(REG_FLASH_ROT_CONFIG)] & REG_FLASH_ROT_CONFIG_BIT_PID_EN;
      if (!speedPIDEnabled)
        vTaskSuspend(NULL);
      else
      {
        osDelay(PID_SPEED_SAMPLING_TIME_MS / portTICK_RATE_MS);
        PID_speed_rot.values.current_val = (int16_t)regInput[regInpIx(REG_INPUT_ROT_SPEED)];
        if (!(regFlash[regFlashIx(REG_FLASH_ROT_CONFIG)] & REG_FLASH_ROT_CONFIG_BIT_PID_TYPE))
          PID_speed_rot.values.setpoint = (int16_t)regHolding[regHoldIx(REG_HOLDING_ROT_TARGET_SPEED)];
        PID_Update(&PID_speed_rot);
      }
    }
  }
  /* USER CODE END taskInit_PID_Rot_Speed */
}

void taskInit_PID_Elev_Speed(void *argument)
{
  /* USER CODE BEGIN taskInit_PID_Elev_Speed */
  /* Infinite loop */
  for (;;)
  {
    bool speedPIDEnabled = regFlash[regFlashIx(REG_FLASH_ELEV_CONFIG)] & REG_FLASH_ELEV_CONFIG_BIT_PID_EN;
    if (!speedPIDEnabled)
      vTaskSuspend(NULL);
    else
    {
      osDelay(PID_SPEED_SAMPLING_TIME_MS / portTICK_RATE_MS);
      PID_speed_elev.values.current_val = (int16_t)regInput[regInpIx(REG_INPUT_ELEV_SPEED)];
      if (!(regFlash[regFlashIx(REG_FLASH_ELEV_CONFIG)] & REG_FLASH_ELEV_CONFIG_BIT_PID_TYPE))
        PID_speed_elev.values.setpoint = (int16_t)regHolding[regHoldIx(REG_HOLDING_ELEV_TARGET_SPEED)];
      PID_Update(&PID_speed_elev);
    }
  }
  /* USER CODE END taskInit_PID_Elev_Speed */
}

void taskInit_send_Rot_Speed(void *argument)
{
  /* USER CODE BEGIN taskInit_send_Rot_Speed */
  /* Infinite loop */
  for (;;)
  {
    osDelay(SPEED_UPDATE_PERIOD_MS / portTICK_RATE_MS);
    speedCV_rot = getRotSpeedCV();
    switch (regFlash[regFlashIx(REG_FLASH_ROT_CONFIG)] & REG_FLASH_ROT_CONFIG_BITMASK_CONTROL)
    {
    case REG_FLASH_ROT_CONFIG_BITMASK_CONTROL_UART:
      setRotSpeedUART(speedCV_rot);
      break;

    default:
      break;
    }

    if ((speedCV_rot != 0) || (speedCV_elev != 0))
      regInput[regInpIx(REG_INPUT_STATUS_WORD)] |= REG_INPUT_STATUS_WORD_BIT_IN_MOTION;
    else
      regInput[regInpIx(REG_INPUT_STATUS_WORD)] &= ~REG_INPUT_STATUS_WORD_BIT_IN_MOTION;
  }
  /* USER CODE END taskInit_send_Rot_Speed */
}

void taskInit_send_Elev_Speed(void *argument)
{
  /* USER CODE BEGIN taskInit_send_Elev_Speed */
  /* Infinite loop */
  for (;;)
  {
    osDelay(SPEED_UPDATE_PERIOD_MS / portTICK_RATE_MS);
    speedCV_elev = getElevSpeedCV();
    switch (regFlash[regFlashIx(REG_FLASH_ELEV_CONFIG)] & REG_FLASH_ELEV_CONFIG_BITMASK_CONTROL)
    {
    case REG_FLASH_ELEV_CONFIG_BITMASK_CONTROL_PWM:
      setElevSpeedPWM(speedCV_elev);
      break;

    default:
      break;

      if ((speedCV_rot != 0) || (speedCV_elev != 0))
        regInput[regInpIx(REG_INPUT_STATUS_WORD)] |= REG_INPUT_STATUS_WORD_BIT_IN_MOTION;
      else
        regInput[regInpIx(REG_INPUT_STATUS_WORD)] &= ~REG_INPUT_STATUS_WORD_BIT_IN_MOTION;
    }
  }
  /* USER CODE END taskInit_send_Elev_Speed */
}

void taskInit_VESC_RX_Timeout(void *argument)
{
  /* USER CODE BEGIN taskInit_VESC_RX_Timeout */
  /* Infinite loop */
  for (;;)
  {
    osDelay(1 / portTICK_RATE_MS);
    if (!Rot_UART_VESC_Enabled)
      vTaskSuspend(NULL);
    else
      bldc_interface_uart_run_timer();
  }
  /* USER CODE END taskInit_VESC_RX_Timeout */
}
